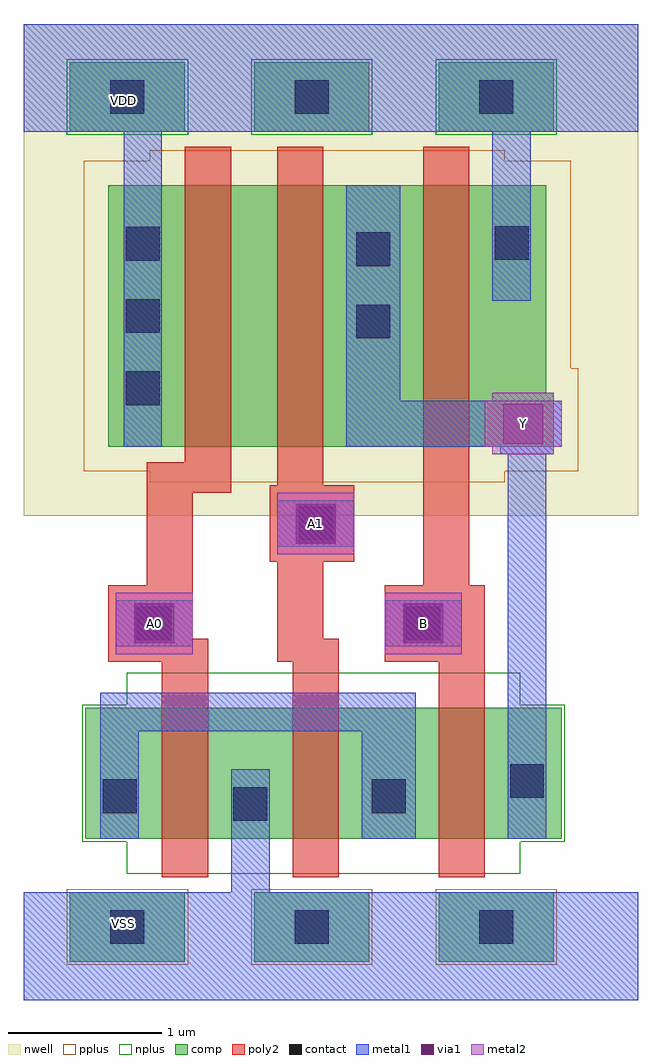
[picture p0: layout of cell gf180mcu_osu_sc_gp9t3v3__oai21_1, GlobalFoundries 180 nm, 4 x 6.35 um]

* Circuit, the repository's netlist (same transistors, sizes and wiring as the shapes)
* Copyright 2022 Google LLC
*
* Licensed under the Apache License, Version 2.0 (the "License");
* you may not use this file except in compliance with the License.
* You may obtain a copy of the License at
*
*      http://www.apache.org/licenses/LICENSE-2.0
*
* Unless required by applicable law or agreed to in writing, software
* distributed under the License is distributed on an "AS IS" BASIS,
* WITHOUT WARRANTIES OR CONDITIONS OF ANY KIND, either express or implied.
* See the License for the specific language governing permissions and
* limitations under the License.

.option scale=0.05u

.subckt gf180mcu_osu_sc_gp9t3v3__oai21_1 Y A0 A1 B
X0 a_27_70 A0 VDD VDD pmos_3p3 w=34 l=6
X1 Y A1 a_27_70 VDD pmos_3p3 w=34 l=6
X2 Y B a_8_19 VSS nmos_3p3 w=17 l=6
X3 VSS A0 a_8_19 VSS nmos_3p3 w=17 l=6
X4 VDD B Y VDD pmos_3p3 w=34 l=6
X5 a_8_19 A1 VSS VSS nmos_3p3 w=17 l=6
.ends

** hspice subcircuit dictionary

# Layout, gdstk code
import gdstk
lib = gdstk.Library(unit=1e-6, precision=1e-09)
def R(c, l, rs):  # rectangles x0, y0, x1, y1
    for r in rs: c.add(gdstk.rectangle(r[:2], r[2:], *l))
def A(c, l, x, y, w, h, nx, ny, dx, dy):  # array of equal rectangles
    R(c, l, [(x+i*dx, y+j*dy, x+i*dx+w, y+j*dy+h) for i in range(nx) for j in range(ny)])
nwell = (21, 0)
comp = (22, 0)
poly2 = (30, 0)
pplus = (31, 0)
nplus = (32, 0)
contact = (33, 0)
metal1 = (34, 0)
via1 = (35, 0)
metal2 = (36, 0)

gf180mcu_osu_sc_gp9t3v3_ = lib.new_cell('gf180mcu_osu_sc_gp9t3v3__oai21_1')
R(gf180mcu_osu_sc_gp9t3v3_, nwell, [(0,3.15,4,6.35)])
A(gf180mcu_osu_sc_gp9t3v3_, comp, 0.3, 0.25, 0.75, 0.45, 3, 2, 1.2, 5.4)
R(gf180mcu_osu_sc_gp9t3v3_, comp, [(0.4,1.05,3.5,1.9), (0.55,3.6,3.45,3.95), (0.55,3.95,3.4,5.3)])
R(gf180mcu_osu_sc_gp9t3v3_, poly2, [(0.9,0.8,1.2,2.2), (1.75,0.8,2.05,2.2), (2.7,0.8,3,2.2), (0.55,2.2,1.2,2.35), (1.65,2.2,2.05,2.35), (2.35,2.2,3,2.7), (0.55,2.35,1.1,2.7), (1.65,2.35,1.95,2.85), (0.8,2.7,1.1,3.3), (2.6,2.7,2.9,5.55), (1.6,2.85,2.15,3.35), (0.8,3.3,1.35,3.5), (1.65,3.35,1.95,5.55), (1.05,3.5,1.35,5.55)])
A(gf180mcu_osu_sc_gp9t3v3_, pplus, 0.28, 0.23, 0.79, 0.49, 3, 1, 1.2, 0)
R(gf180mcu_osu_sc_gp9t3v3_, pplus, [(0.82,3.37,3.13,3.44), (0.39,3.44,3.61,4.11), (0.39,4.11,3.56,5.46), (0.82,5.46,3.13,5.53)])
A(gf180mcu_osu_sc_gp9t3v3_, nplus, 0.28, 5.63, 0.79, 0.49, 3, 1, 1.2, 0)
R(gf180mcu_osu_sc_gp9t3v3_, nplus, [(0.67,0.82,3.23,1.03), (0.38,1.03,3.52,1.92), (0.67,1.92,3.23,2.13)])
A(gf180mcu_osu_sc_gp9t3v3_, contact, 0.565, 0.365, 0.22, 0.22, 3, 2, 1.2, 5.4)
A(gf180mcu_osu_sc_gp9t3v3_, contact, 0.665, 3.87, 0.22, 0.22, 1, 3, 0, 0.47)
R(gf180mcu_osu_sc_gp9t3v3_, contact, [(1.365,1.165,1.585,1.385), (0.515,1.215,0.735,1.435), (2.265,1.215,2.485,1.435), (3.165,1.315,3.385,1.535), (0.74,2.34,0.96,2.56), (2.49,2.34,2.71,2.56), (1.79,2.99,2.01,3.21), (2.165,4.305,2.385,4.525), (2.165,4.775,2.385,4.995), (3.065,4.815,3.285,5.035)])
R(gf180mcu_osu_sc_gp9t3v3_, metal1, [(0,0,4,0.7), (1.35,0.7,1.6,1.5), (0.5,1.05,0.75,1.75), (2.2,1.05,2.55,1.75), (3.15,1.05,3.4,3.55), (0.5,1.75,2.55,2), (0.6,2.3,1.1,2.6), (2.35,2.3,2.85,2.6), (1.65,2.95,2.15,3.25), (3.1,3.55,3.45,3.6), (0.65,3.6,0.9,5.65), (2.1,3.6,3.5,3.9), (2.1,3.9,2.45,5.3), (3.05,4.55,3.3,5.65), (0,5.65,4,6.35)])
R(gf180mcu_osu_sc_gp9t3v3_, via1, [(0.72,2.32,0.98,2.58), (2.47,2.32,2.73,2.58), (1.77,2.97,2.03,3.23), (3.12,3.62,3.38,3.88)])
R(gf180mcu_osu_sc_gp9t3v3_, metal2, [(0.6,2.25,1.1,2.65), (2.35,2.25,2.85,2.65), (1.65,2.9,2.15,3.3), (3.05,3.55,3.45,3.6), (3,3.6,3.5,3.9), (3.05,3.9,3.45,3.95)])
gf180mcu_osu_sc_gp9t3v3_.add(gdstk.Label('A0', (0.85,2.45), layer=36, texttype=10))
gf180mcu_osu_sc_gp9t3v3_.add(gdstk.Label('A1', (1.9,3.1), layer=36, texttype=10))
gf180mcu_osu_sc_gp9t3v3_.add(gdstk.Label('B', (2.6,2.45), layer=36, texttype=10))
gf180mcu_osu_sc_gp9t3v3_.add(gdstk.Label('Y', (3.25,3.75), layer=36, texttype=10))
gf180mcu_osu_sc_gp9t3v3_.add(gdstk.Label('VDD', (0.65,5.85), layer=34, texttype=10))
gf180mcu_osu_sc_gp9t3v3_.add(gdstk.Label('VSS', (0.65,0.5), layer=34, texttype=10))

lib.write_gds('gf180mcu_osu_sc_gp9t3v3__oai21_1.gds')
